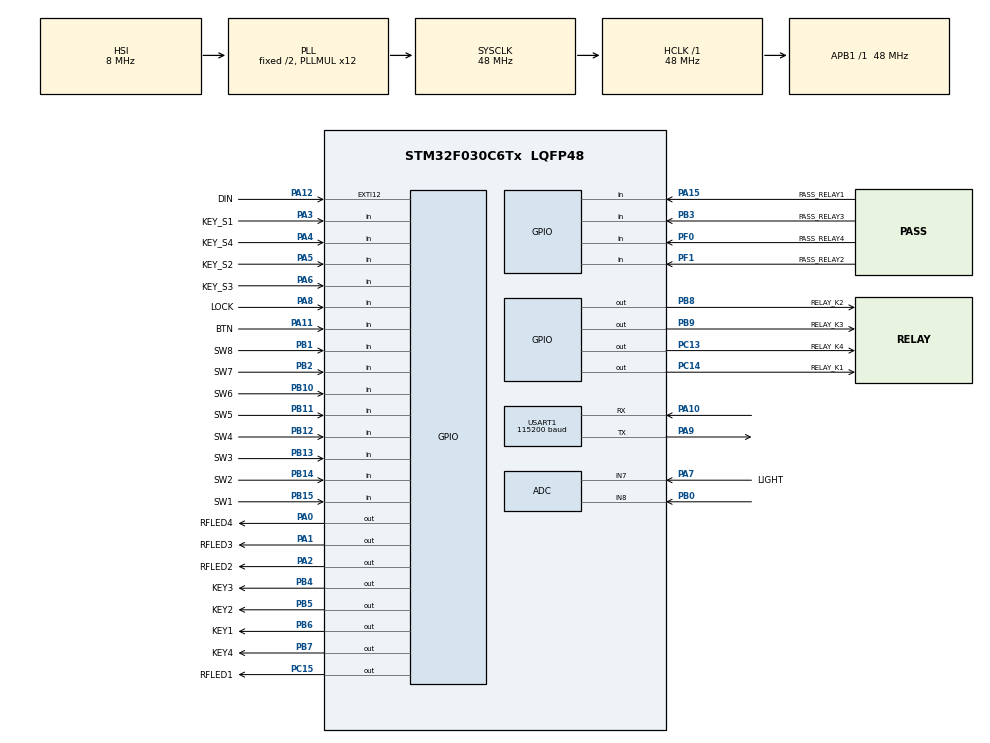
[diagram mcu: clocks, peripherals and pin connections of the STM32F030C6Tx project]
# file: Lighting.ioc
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ADC.ContinuousConvMode=DISABLE
ADC.DMAContinuousRequests=DISABLE
Mcu.Family=STM32F0
Mcu.Name=STM32F030C6Tx
Mcu.Package=LQFP48
NVIC.EXTI4_15_IRQn=true\:0\:0\:false\:false\:true\:true\:true
NVIC.TIM3_IRQn=true\:0\:0\:false\:false\:true\:true\:true
PA0.GPIO_Label=RFLED4
PA0.Signal=GPIO_Output
PA1.GPIO_Label=RFLED3
PA1.Signal=GPIO_Output
PA10.Mode=Asynchronous
PA10.Signal=USART1_RX
PA11.GPIO_Label=BTN
PA11.Signal=GPIO_Input
PA12.GPIO_Label=DIN
PA12.GPIO_ModeDefaultEXTI=GPIO_MODE_IT_RISING_FALLING
PA12.Signal=GPXTI12
PA13.Mode=Serial_Wire
PA13.Signal=SYS_SWDIO
PA14.Mode=Serial_Wire
PA14.Signal=SYS_SWCLK
PA15.GPIO_Label=PASS_RELAY1
PA15.Signal=GPIO_Input
PA2.GPIO_Label=RFLED2
PA2.Signal=GPIO_Output
PA3.GPIO_Label=KEY_S1
PA3.Signal=GPIO_Input
PA4.GPIO_Label=KEY_S4
PA4.Signal=GPIO_Input
PA5.GPIO_Label=KEY_S2
PA5.Signal=GPIO_Input
PA6.GPIO_Label=KEY_S3
PA6.Signal=GPIO_Input
PA7.GPIO_Label=LIGHT
PA7.Mode=IN7
PA7.Signal=ADC_IN7
PA8.GPIO_Label=LOCK
PA8.Signal=GPIO_Input
PA9.Mode=Asynchronous
PA9.Signal=USART1_TX
PB0.Mode=IN8
PB0.Signal=ADC_IN8
PB1.GPIO_Label=SW8
PB1.Signal=GPIO_Input
PB10.GPIO_Label=SW6
PB10.Signal=GPIO_Input
PB11.GPIO_Label=SW5
PB11.Signal=GPIO_Input
PB12.GPIO_Label=SW4
PB12.Signal=GPIO_Input
PB13.GPIO_Label=SW3
PB13.Signal=GPIO_Input
PB14.GPIO_Label=SW2
PB14.Signal=GPIO_Input
PB15.GPIO_Label=SW1
PB15.Signal=GPIO_Input
PB2.GPIO_Label=SW7
PB2.Signal=GPIO_Input
PB3.GPIO_Label=PASS_RELAY3
PB3.Signal=GPIO_Input
PB4.GPIO_Label=KEY3
PB4.Signal=GPIO_Output
PB5.GPIO_Label=KEY2
PB5.Signal=GPIO_Output
PB6.GPIO_Label=KEY1
PB6.Signal=GPIO_Output
PB7.GPIO_Label=KEY4
PB7.Signal=GPIO_Output
PB8.GPIO_Label=RELAY_K2
PB8.Signal=GPIO_Output
PB9.GPIO_Label=RELAY_K3
PB9.Signal=GPIO_Output
PC13.GPIO_Label=RELAY_K4
PC13.Signal=GPIO_Output
PC14-OSC32_IN.GPIO_Label=RELAY_K1
PC14-OSC32_IN.Signal=GPIO_Output
PC15-OSC32_OUT.GPIO_Label=RFLED1
PC15-OSC32_OUT.Signal=GPIO_Output
PF0-OSC_IN.GPIO_Label=PASS_RELAY4
PF0-OSC_IN.Signal=GPIO_Input
PF1-OSC_OUT.GPIO_Label=PASS_RELAY2
PF1-OSC_OUT.Signal=GPIO_Input
ProjectManager.HeapSize=0x200
ProjectManager.StackSize=0x400
ProjectManager.TargetToolchain=MDK-ARM V5
RCC.AHBFreq_Value=48000000
RCC.APB1Freq_Value=48000000
RCC.APB1TimFreq_Value=48000000
RCC.HCLKFreq_Value=48000000
RCC.PLLMUL=RCC_PLL_MUL12
RCC.SYSCLKFreq_VALUE=48000000
RCC.SYSCLKSource=RCC_SYSCLKSOURCE_PLLCLK
TIM3.AutoReloadPreload=TIM_AUTORELOAD_PRELOAD_ENABLE
TIM3.CounterMode=TIM_COUNTERMODE_DOWN
TIM3.Period=1
TIM3.Prescaler=1200-1
USART1.BaudRate=115200
USART1.VirtualMode-Asynchronous=VM_ASYNC
VP_TIM3_VS_ClockSourceINT.Mode=Internal
board=custom

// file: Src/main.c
/* USER CODE BEGIN Header */
/**
  ******************************************************************************
  * @file           : main.c
  * @brief          : Main program body
  ******************************************************************************
  * @attention
  *
  * <h2><center>&copy; Copyright (c) 2020 STMicroelectronics.
  * All rights reserved.</center></h2>
  *
  * This software component is licensed by ST under BSD 3-Clause license,
  * the "License"; You may not use this file except in compliance with the
  * License. You may obtain a copy of the License at:
  *                        opensource.org/licenses/BSD-3-Clause
  *
  ******************************************************************************
  */
/* USER CODE END Header */

#include "main.h"

/* USER CODE BEGIN Includes */
#include <stdio.h>
/* USER CODE END Includes */

/* USER CODE BEGIN PTD */
	extern volatile tick_type systemTick;

/* USER CODE END PTD */

/* USER CODE BEGIN PD */
#define TICKS_PER_SECOND 20000 //timer 3 running at 10,000Hz
//#define __DEBUG_ENABLE // uncomment for debug messages over serial port
/* USER CODE END PD */

ADC_HandleTypeDef hadc;

TIM_HandleTypeDef htim3;

UART_HandleTypeDef huart1;

/* USER CODE BEGIN PV */
	setupData sData, *pData;
	ZONES zones[NUM_ZONES];
	uint32_t rfReceiveCode;
	int flashtest;
	uint8_t rfMode;
	int currLightLevel;
	tick_type rfTimeout=0;
	uint32_t rfCodeArray[3];
	int receivedCodes;
	int currZone;
	int lightTimer;
	uint8_t needSaving;
	uint8_t saveLightLevel;
	extern uint16_t rfStatus;
/* USER CODE END PV */

void SystemClock_Config(void);
static void MX_GPIO_Init(void);
static void MX_ADC_Init(void);
static void MX_TIM3_Init(void);
static void MX_USART1_UART_Init(void);
/* USER CODE BEGIN PFP */
	extern void buttonTask(void);
	extern int flashRead(void);
	extern void flashWrite(void);
	extern int findCodeZone(int,int);
	extern int findFirstSlot(int);
	extern int rfGetStatus(void);
	extern void rfSetStatus(int);
/* USER CODE END PFP */

/* USER CODE BEGIN 0 */

/*int fputc(int ch, FILE *f)
{
		HAL_UART_Transmit(&huart1,(uint8_t *)&ch,1,0xffff);
		return ch;
	}	*/

void activateZone(int zone) {

		if(zones[zone].mode==ZONE_MODE_DELAY) {
			if(currLightLevel<sData.lightLevel){
				zones[zone].zoneActive=ZONE_ACTIVE;
				zones[zone].zoneTimeout=systemTick+lightTimer;

			}
			else
				zones[zone].zoneActive=0;
		}
		else {
				if(zones[zone].zoneActive)
					zones[zone].zoneActive=0;
				else
					zones[zone].zoneActive=1;

		}
		zones[zone].btnActivated=0;
		zones[zone].pirActivated=0;
		zones[zone].espActivated=0;
}
	void espUpdate()
	{

		for(int x=0;x<4;x++) {
			zones[x].EspInput=HAL_GPIO_ReadPin(Pass_Relay_array[x].port,Pass_Relay_array[x].mask);

				if(zones[x].EspInput)
					zones[x].EspOverride=1;
				else
					zones[x].EspOverride=0;

		}
	}

	void SaveLightLevel(void) {

				//BTN has been pushed so transfer current light level to ROM
				saveLightLevel=1;
				HAL_ADC_Start_IT(&hadc);

	}

/*	void HAL_ADC_ConvCpltCallback(ADC_HandleTypeDef* hadc){
		//HAL_ADC_Stop(hadc);
		currLightLevel=HAL_ADC_GetValue(hadc);
		if(saveLightLevel){
				sData.lightLevel=currLightLevel;
				needSaving=1;
				saveLightLevel=0;
		}

	}*/

/* USER CODE END 0 */

int main(void)
{
  /* USER CODE BEGIN 1 */

	tick_type rfDisableTimeout;
	tick_type secTick=TICKS_PER_SECOND;
	tick_type adcTimer = TICKS_PER_SECOND *10;
	int Zone;
	int index;

  /* USER CODE END 1 */

  /* MCU Configuration--------------------------------------------------------*/

  /* Reset of all peripherals, Initializes the Flash interface and the Systick. */
  HAL_Init();

  /* Configure the system clock */
  SystemClock_Config();

  /* Initialize all configured peripherals */
  MX_GPIO_Init();
  MX_ADC_Init();
  MX_TIM3_Init();
  MX_USART1_UART_Init();
  /* USER CODE BEGIN 2 */
	HAL_TIM_Base_Start(&htim3); //start timer 3
	__HAL_TIM_ENABLE_IT(&htim3, TIM_IT_UPDATE );  //must enable the timer 3 overflow for the interrupt to be generated
	needSaving=0;
	HAL_ADC_Start_IT(&hadc);
	buttonInit();
	RFInit();
	pData=&sData;

	HAL_ADC_Start(&hadc);

	for(int x=0;x<16;x++)
		sData.rfCodeArray[x]=0;
	for(int x=0;x<NUM_ZONES;x++){
		zones[x].zoneTimeout=0;
		zones[x].zoneActive=ZONE_INACTIVE;
		zones[x].ledActive=ZONE_INACTIVE;
		zones[x].zoneLedTimeout=0;
		zones[x].btnActivated=0;
		zones[x].pirActivated=0;
		zones[x].espActivated=0;
		HAL_GPIO_WritePin(Relay_array[x].port, Relay_array[x].mask,0);
		HAL_GPIO_WritePin(Key_array[x].port, Key_array[x].mask,1);
	}

	zones[0].mode=HAL_GPIO_ReadPin(GPIOB,GPIO_PIN_15);
	zones[1].mode=HAL_GPIO_ReadPin(GPIOB,GPIO_PIN_14);
	zones[2].mode=HAL_GPIO_ReadPin(GPIOB,GPIO_PIN_13);
	zones[3].mode=HAL_GPIO_ReadPin(GPIOB,GPIO_PIN_12);

	flashRead();
	if(sData.lightLevel==0xffffffff)
		sData.lightLevel=0x3ff; //max value

	if(sData.lightOnDelay==0xffffffff || sData.lightOnDelay==0){
		//read the on board switches for delay in minutes
		lightTimer=1;
		lightTimer^=HAL_GPIO_ReadPin(SW8_GPIO_Port,SW8_Pin);
		lightTimer=(lightTimer<<1)+1;
		lightTimer^=HAL_GPIO_ReadPin(SW7_GPIO_Port,SW7_Pin);
		lightTimer=(lightTimer<<1)+1;
		lightTimer^=HAL_GPIO_ReadPin(SW6_GPIO_Port,SW6_Pin);
		lightTimer=(lightTimer<<1)+1;
		lightTimer^=HAL_GPIO_ReadPin(SW5_GPIO_Port,SW5_Pin);
		lightTimer=(lightTimer<<1)+1;
		if(lightTimer==1)
			lightTimer=TICKS_PER_SECOND*5;
		else
			lightTimer=TICKS_PER_SECOND*60*(lightTimer);
	}
	else
		lightTimer=sData.lightLevel;

	#ifdef __DEBUG_ENABLE
		printf("\fSonoff CH4 - RF enabled security lighting system (c) Nick Deacon 2020\n\r");
	#endif
	saveLightLevel=0;

  /* USER CODE END 2 */

  /* Infinite loop */
  while (1)
  {

    /* USER CODE BEGIN 3 */
		if(systemTick>secTick) {
			for(int x=0;x<4;x++) {
				if(zones[x].ledActive) {
					HAL_GPIO_TogglePin(led_array[x].port,led_array[x].mask);
				}
			}
			secTick=systemTick+TICKS_PER_SECOND/2;
		}
		if(systemTick>adcTimer) {
			currLightLevel=HAL_ADC_GetValue(&hadc);
			if(saveLightLevel){
				sData.lightLevel=currLightLevel;
				needSaving=1;
				saveLightLevel=0;
			}
			HAL_ADC_Start(&hadc);
			adcTimer=systemTick+(TICKS_PER_SECOND*10);
		}
		buttonTask();
		rfReceiveCode= RFTask();
		if(rfReceiveCode>0) {
			#ifdef __DEBUG_ENABLE
				printf("rf code received %X\n\r",rfReceiveCode);
			#endif
			RFInit();
			switch(rfMode){
				case RF_MODE_NORMAL:

					for(Zone=0;Zone<4;Zone++){
						if(findCodeZone(rfReceiveCode,Zone)>0) {
							if(!zones[Zone].ledActive) {
								zones[Zone].pirActivated=ZONE_ACTIVE;
								HAL_GPIO_WritePin(led_array[Zone].port,led_array[Zone].mask,1);
								zones[Zone].ledActive=1;
								zones[Zone].zoneLedTimeout=systemTick+TICKS_PER_SECOND/2;

							}

							#ifdef __DEBUG_ENABLE
								printf("button %i pressed\r\n",Zone);
							#endif

						}
					}
					break;
				case RF_MODE_LEARN:
						rfCodeArray[receivedCodes]=rfReceiveCode;
						receivedCodes++;
						if(receivedCodes==3){

							if(rfCodeArray[0]==rfCodeArray[1]&& rfCodeArray[0]==rfCodeArray[2]){
								//store new code
								if(!findCodeZone(rfCodeArray[0],currZone)) { //check that the code is already stored
									index=findFirstSlot(currZone);
									if(index>=0) {
										#ifdef __DEBUG_ENABLE
											printf("code saving to zone %i\n\r",currZone);
										#endif
										sData.rfCodeArray[index]=rfCodeArray[0];
										needSaving=1;
										HAL_GPIO_WritePin(led_array[currZone].port,led_array[currZone].mask,1);
										zones[currZone].ledActive=1;
										zones[currZone].zoneLedTimeout=systemTick+TICKS_PER_SECOND*2;
										//disable further rf for 5 sec
										rfMode=RF_MODE_DISABLE;
										rfDisableTimeout=systemTick+(TICKS_PER_SECOND*2);
										receivedCodes=0;
										rfCodeArray[0]=rfCodeArray[1]=rfCodeArray[2]=0;
									}
								receivedCodes=0;

								}
							}
							else {
								rfCodeArray[0]=rfCodeArray[1];
								rfCodeArray[1]=rfCodeArray[2];
								receivedCodes=2;

							}

						}

						break;
				}
		}
		if(rfMode==RF_MODE_LEARN && systemTick>rfTimeout){
				rfMode=RF_MODE_NORMAL; //timeout return to normal mode
				receivedCodes=0;
		}
		int rfStatus=rfGetStatus();
		if(rfStatus!=RF_IDLE) {

			//set outputs to relays

			for(int x=0;x<NUM_ZONES;x++) {

				if(zones[x].btnActivated==ZONE_ACTIVE || zones[x].pirActivated==ZONE_ACTIVE || zones[x].espActivated==ZONE_ACTIVE) {
					activateZone(x);
				}

				if(zones[x].ledActive) {
					if(systemTick>zones[x].zoneLedTimeout){
						HAL_GPIO_WritePin(led_array[x].port,led_array[x].mask,0);
						zones[x].ledActive=0;
					}
				}
				if(zones[x].zoneActive && zones[x].mode==ZONE_MODE_DELAY){
					if(systemTick>zones[x].zoneTimeout) {
						zones[x].zoneActive=0;

					}
				}
				if(!zones[x].EspOverride)
					HAL_GPIO_WritePin(Relay_array[x].port, Relay_array[x].mask,zones[x].zoneActive);
				else
					HAL_GPIO_WritePin(Relay_array[x].port, Relay_array[x].mask,1);
			}
			if(rfMode==RF_MODE_DISABLE) {
				if(systemTick>rfDisableTimeout) {
					rfMode=RF_MODE_NORMAL;
				}
			}

			else {
				if(needSaving) {
					__disable_irq();
					flashWrite();
					__enable_irq();
					needSaving=0;
				}
				else {
					//lowest priority task - update to and from the esp wifi chip
					espUpdate();
					//echo button S6 to KEY1 output to esp. this allows for long press to put esp into link mode
					HAL_GPIO_WritePin(Key_array[0].port,Key_array[0].mask,HAL_GPIO_ReadPin(BTN_GPIO_Port,BTN_Pin));
				}
			}
		}
		else
			rfSetStatus(RF_LISTEN);
  }
  /* USER CODE END 3 */
}

void SystemClock_Config(void)
{
  RCC_OscInitTypeDef RCC_OscInitStruct = {0};
  RCC_ClkInitTypeDef RCC_ClkInitStruct = {0};
  RCC_PeriphCLKInitTypeDef PeriphClkInit = {0};

  /** Initializes the CPU, AHB and APB busses clocks
  */
  RCC_OscInitStruct.OscillatorType = RCC_OSCILLATORTYPE_HSI|RCC_OSCILLATORTYPE_HSI14;
  RCC_OscInitStruct.HSIState = RCC_HSI_ON;
  RCC_OscInitStruct.HSI14State = RCC_HSI14_ON;
  RCC_OscInitStruct.HSICalibrationValue = RCC_HSICALIBRATION_DEFAULT;
  RCC_OscInitStruct.HSI14CalibrationValue = 16;
  RCC_OscInitStruct.PLL.PLLState = RCC_PLL_ON;
  RCC_OscInitStruct.PLL.PLLSource = RCC_PLLSOURCE_HSI;
  RCC_OscInitStruct.PLL.PLLMUL = RCC_PLL_MUL12;
  RCC_OscInitStruct.PLL.PREDIV = RCC_PREDIV_DIV1;
  if (HAL_RCC_OscConfig(&RCC_OscInitStruct) != HAL_OK)
  {
    Error_Handler();
  }
  /** Initializes the CPU, AHB and APB busses clocks
  */
  RCC_ClkInitStruct.ClockType = RCC_CLOCKTYPE_HCLK|RCC_CLOCKTYPE_SYSCLK
                              |RCC_CLOCKTYPE_PCLK1;
  RCC_ClkInitStruct.SYSCLKSource = RCC_SYSCLKSOURCE_PLLCLK;
  RCC_ClkInitStruct.AHBCLKDivider = RCC_SYSCLK_DIV1;
  RCC_ClkInitStruct.APB1CLKDivider = RCC_HCLK_DIV1;

  if (HAL_RCC_ClockConfig(&RCC_ClkInitStruct, FLASH_LATENCY_1) != HAL_OK)
  {
    Error_Handler();
  }
  PeriphClkInit.PeriphClockSelection = RCC_PERIPHCLK_USART1;
  PeriphClkInit.Usart1ClockSelection = RCC_USART1CLKSOURCE_PCLK1;
  if (HAL_RCCEx_PeriphCLKConfig(&PeriphClkInit) != HAL_OK)
  {
    Error_Handler();
  }
}

static void MX_ADC_Init(void)
{

  ADC_ChannelConfTypeDef sConfig = {0};

  /** Configure the global features of the ADC (Clock, Resolution, Data Alignment and number of conversion)
  */
  hadc.Instance = ADC1;
  hadc.Init.ClockPrescaler = ADC_CLOCK_ASYNC_DIV1;
  hadc.Init.Resolution = ADC_RESOLUTION_12B;
  hadc.Init.DataAlign = ADC_DATAALIGN_RIGHT;
  hadc.Init.ScanConvMode = ADC_SCAN_DIRECTION_FORWARD;
  hadc.Init.EOCSelection = ADC_EOC_SINGLE_CONV;
  hadc.Init.LowPowerAutoWait = DISABLE;
  hadc.Init.LowPowerAutoPowerOff = DISABLE;
  hadc.Init.ContinuousConvMode = DISABLE;
  hadc.Init.DiscontinuousConvMode = DISABLE;
  hadc.Init.ExternalTrigConv = ADC_SOFTWARE_START;
  hadc.Init.ExternalTrigConvEdge = ADC_EXTERNALTRIGCONVEDGE_NONE;
  hadc.Init.DMAContinuousRequests = DISABLE;
  hadc.Init.Overrun = ADC_OVR_DATA_PRESERVED;
  if (HAL_ADC_Init(&hadc) != HAL_OK)
  {
    Error_Handler();
  }
  /** Configure for the selected ADC regular channel to be converted.
  */
  sConfig.Channel = ADC_CHANNEL_7;
  sConfig.Rank = ADC_RANK_CHANNEL_NUMBER;
  sConfig.SamplingTime = ADC_SAMPLETIME_1CYCLE_5;
  if (HAL_ADC_ConfigChannel(&hadc, &sConfig) != HAL_OK)
  {
    Error_Handler();
  }
  /** Configure for the selected ADC regular channel to be converted.
  */
  sConfig.Channel = ADC_CHANNEL_8;
  if (HAL_ADC_ConfigChannel(&hadc, &sConfig) != HAL_OK)
  {
    Error_Handler();
  }

}

static void MX_TIM3_Init(void)
{

  TIM_ClockConfigTypeDef sClockSourceConfig = {0};
  TIM_MasterConfigTypeDef sMasterConfig = {0};

  htim3.Instance = TIM3;
  htim3.Init.Prescaler = 1200-1;
  htim3.Init.CounterMode = TIM_COUNTERMODE_DOWN;
  htim3.Init.Period = 1;
  htim3.Init.ClockDivision = TIM_CLOCKDIVISION_DIV1;
  htim3.Init.AutoReloadPreload = TIM_AUTORELOAD_PRELOAD_ENABLE;
  if (HAL_TIM_Base_Init(&htim3) != HAL_OK)
  {
    Error_Handler();
  }
  sClockSourceConfig.ClockSource = TIM_CLOCKSOURCE_INTERNAL;
  if (HAL_TIM_ConfigClockSource(&htim3, &sClockSourceConfig) != HAL_OK)
  {
    Error_Handler();
  }
  sMasterConfig.MasterOutputTrigger = TIM_TRGO_RESET;
  sMasterConfig.MasterSlaveMode = TIM_MASTERSLAVEMODE_DISABLE;
  if (HAL_TIMEx_MasterConfigSynchronization(&htim3, &sMasterConfig) != HAL_OK)
  {
    Error_Handler();
  }

}

static void MX_USART1_UART_Init(void)
{

  huart1.Instance = USART1;
  huart1.Init.BaudRate = 115200;
  huart1.Init.WordLength = UART_WORDLENGTH_8B;
  huart1.Init.StopBits = UART_STOPBITS_1;
  huart1.Init.Parity = UART_PARITY_NONE;
  huart1.Init.Mode = UART_MODE_TX_RX;
  huart1.Init.HwFlowCtl = UART_HWCONTROL_NONE;
  huart1.Init.OverSampling = UART_OVERSAMPLING_16;
  huart1.Init.OneBitSampling = UART_ONE_BIT_SAMPLE_DISABLE;
  huart1.AdvancedInit.AdvFeatureInit = UART_ADVFEATURE_NO_INIT;
  if (HAL_UART_Init(&huart1) != HAL_OK)
  {
    Error_Handler();
  }

}

static void MX_GPIO_Init(void)
{
  GPIO_InitTypeDef GPIO_InitStruct = {0};

  /* GPIO Ports Clock Enable */
  __HAL_RCC_GPIOC_CLK_ENABLE();
  __HAL_RCC_GPIOF_CLK_ENABLE();
  __HAL_RCC_GPIOA_CLK_ENABLE();
  __HAL_RCC_GPIOB_CLK_ENABLE();

  /*Configure GPIO pin Output Level */
  HAL_GPIO_WritePin(GPIOC, RELAY_K4_Pin|RELAY_K1_Pin|RFLED1_Pin, GPIO_PIN_RESET);

  /*Configure GPIO pin Output Level */
  HAL_GPIO_WritePin(GPIOA, RFLED4_Pin|RFLED3_Pin|RFLED2_Pin, GPIO_PIN_RESET);

  /*Configure GPIO pin Output Level */
  HAL_GPIO_WritePin(GPIOB, KEY3_Pin|KEY2_Pin|KEY1_Pin|KEY4_Pin
                          |RELAY_K2_Pin|RELAY_K3_Pin, GPIO_PIN_RESET);

  /*Configure GPIO pins : RELAY_K4_Pin RELAY_K1_Pin RFLED1_Pin */
  GPIO_InitStruct.Pin = RELAY_K4_Pin|RELAY_K1_Pin|RFLED1_Pin;
  GPIO_InitStruct.Mode = GPIO_MODE_OUTPUT_PP;
  GPIO_InitStruct.Pull = GPIO_NOPULL;
  GPIO_InitStruct.Speed = GPIO_SPEED_FREQ_LOW;
  HAL_GPIO_Init(GPIOC, &GPIO_InitStruct);

  /*Configure GPIO pins : PASS_RELAY4_Pin PASS_RELAY2_Pin */
  GPIO_InitStruct.Pin = PASS_RELAY4_Pin|PASS_RELAY2_Pin;
  GPIO_InitStruct.Mode = GPIO_MODE_INPUT;
  GPIO_InitStruct.Pull = GPIO_NOPULL;
  HAL_GPIO_Init(GPIOF, &GPIO_InitStruct);

  /*Configure GPIO pins : RFLED4_Pin RFLED3_Pin RFLED2_Pin */
  GPIO_InitStruct.Pin = RFLED4_Pin|RFLED3_Pin|RFLED2_Pin;
  GPIO_InitStruct.Mode = GPIO_MODE_OUTPUT_PP;
  GPIO_InitStruct.Pull = GPIO_NOPULL;
  GPIO_InitStruct.Speed = GPIO_SPEED_FREQ_LOW;
  HAL_GPIO_Init(GPIOA, &GPIO_InitStruct);

  /*Configure GPIO pins : KEY_S1_Pin KEY_S4_Pin KEY_S2_Pin KEY_S3_Pin
                           LOCK_Pin BTN_Pin PASS_RELAY1_Pin */
  GPIO_InitStruct.Pin = KEY_S1_Pin|KEY_S4_Pin|KEY_S2_Pin|KEY_S3_Pin
                          |LOCK_Pin|BTN_Pin|PASS_RELAY1_Pin;
  GPIO_InitStruct.Mode = GPIO_MODE_INPUT;
  GPIO_InitStruct.Pull = GPIO_NOPULL;
  HAL_GPIO_Init(GPIOA, &GPIO_InitStruct);

  /*Configure GPIO pins : SW8_Pin SW7_Pin SW6_Pin SW5_Pin
                           SW4_Pin SW3_Pin SW2_Pin SW1_Pin
                           PASS_RELAY3_Pin */
  GPIO_InitStruct.Pin = SW8_Pin|SW7_Pin|SW6_Pin|SW5_Pin
                          |SW4_Pin|SW3_Pin|SW2_Pin|SW1_Pin
                          |PASS_RELAY3_Pin;
  GPIO_InitStruct.Mode = GPIO_MODE_INPUT;
  GPIO_InitStruct.Pull = GPIO_NOPULL;
  HAL_GPIO_Init(GPIOB, &GPIO_InitStruct);

  /*Configure GPIO pin : DIN_Pin */
  GPIO_InitStruct.Pin = DIN_Pin;
  GPIO_InitStruct.Mode = GPIO_MODE_IT_RISING_FALLING;
  GPIO_InitStruct.Pull = GPIO_NOPULL;
  HAL_GPIO_Init(DIN_GPIO_Port, &GPIO_InitStruct);

  /*Configure GPIO pins : KEY3_Pin KEY2_Pin KEY1_Pin KEY4_Pin
                           RELAY_K2_Pin RELAY_K3_Pin */
  GPIO_InitStruct.Pin = KEY3_Pin|KEY2_Pin|KEY1_Pin|KEY4_Pin
                          |RELAY_K2_Pin|RELAY_K3_Pin;
  GPIO_InitStruct.Mode = GPIO_MODE_OUTPUT_PP;
  GPIO_InitStruct.Pull = GPIO_NOPULL;
  GPIO_InitStruct.Speed = GPIO_SPEED_FREQ_LOW;
  HAL_GPIO_Init(GPIOB, &GPIO_InitStruct);

  /* EXTI interrupt init*/
  HAL_NVIC_SetPriority(EXTI4_15_IRQn, 0, 0);
  HAL_NVIC_EnableIRQ(EXTI4_15_IRQn);

}

void Error_Handler(void)
{
}

/************************ (C) COPYRIGHT STMicroelectronics *****END OF FILE****/
